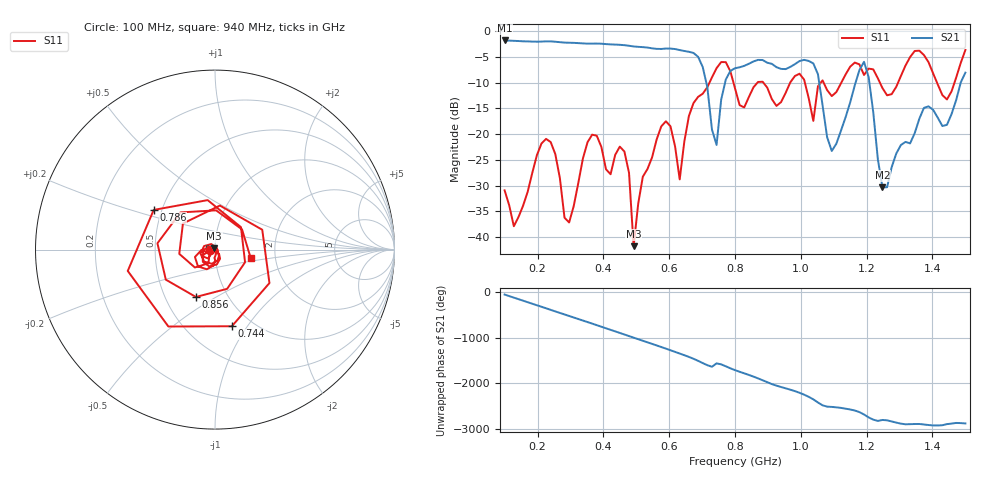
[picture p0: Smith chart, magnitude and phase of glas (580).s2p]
! NanoVNA-App
! Date: 2025-09-25 15:59:59
! Start: 100MHz Stop: 1,5GHz Points: 101
! S-Parameter data: F S11 S21 S12 S22
# Hz S RI R 50
!  Frequency  S11_Real  S11_Imag  S21_Real  S21_Imag  S12_Real  S12_Imag  S22_Real  S22_Imag
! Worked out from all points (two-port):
!   101 points, 100 MHz to 1.5 GHz, reference 50 ohm
!   highest |S21| = -1.80 dB at 100 MHz (marker M1); lowest = -30.4 dB at 1.248 GHz (marker M2)
!   |S21| within 3 dB of the highest: start of sweep to 684.5 MHz
!   lowest |S11| = -41.8 dB at 492 MHz (marker M3), VSWR 1.02, Z = 49.5 + j0.63 ohm
!   |S11| at or under -10 dB: start of sweep to 722.5 MHz; 795.3 MHz to 868.2 MHz (72.89 MHz wide, 8.76 % of centre); 886.1 MHz to 967.6 MHz (81.47 MHz wide, 8.79 % of centre) (the widest 3 of 7)
!   S12 and S22 are empty: the file has one direction only
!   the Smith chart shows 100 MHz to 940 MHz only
!   S11 on the Smith chart (normalised r, x): 100 MHz: 0.95, -0.01; 744 MHz: 0.81, -0.85; 786 MHz: 0.45, +0.24; 856 MHz: 0.71, -0.41; 940 MHz: 1.49, -0.15
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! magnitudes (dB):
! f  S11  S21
! 100 MHz  -30.9  -1.8
! 128 MHz  -37.9  -1.9
! 226 MHz  -20.9  -2.0
! 296 MHz  -37.2  -2.2
! 338 MHz  -24.7  -2.4
! 464 MHz  -23.4  -2.7
! 492 MHz  -41.8  -3.0
! 576 MHz  -18.5  -3.5
! 632 MHz  -28.8  -3.7
! 702 MHz  -12.2  -7.0
! 744 MHz  -7.2  -22.1
! 786 MHz  -7.8  -7.7
! 800 MHz  -11.1  -7.2
! 856 MHz  -10.9  -5.9
! 940 MHz  -13.8  -7.3
! 996 MHz  -8.3  -5.8
! 1.038 GHz  -17.4  -6.3
! 1.094 GHz  -12.6  -23.3
! 1.192 GHz  -8.5  -5.9
! 1.248 GHz  -11.1  -30.4
! 1.276 GHz  -12.2  -26.4
! 1.5 GHz  -3.7  -8.1
